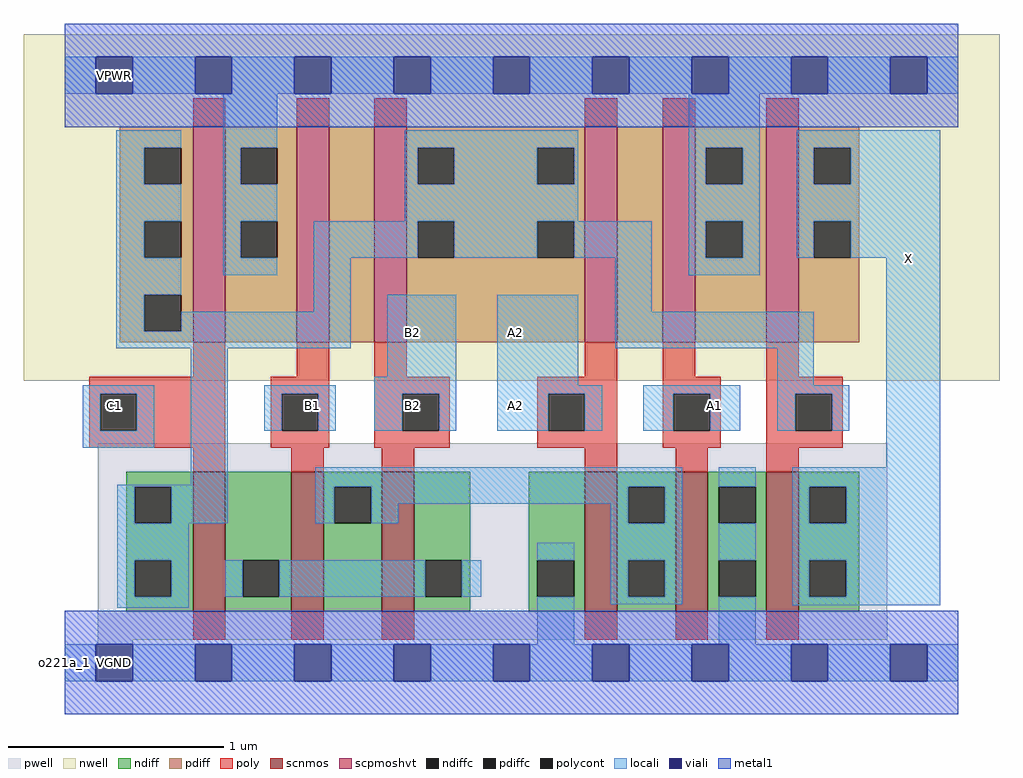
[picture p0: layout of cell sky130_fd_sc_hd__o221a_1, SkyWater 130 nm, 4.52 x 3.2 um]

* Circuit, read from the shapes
.subckt sky130_fd_sc_hd__o221a_1 VGND VPWR VPB VNB B1 B2 A2 A1 X C1
XM1 n1 C1 n2 VNB sky130_fd_pr__nfet_01v8 w=0.65 l=0.15
XM2 n3 B1 n1 VNB sky130_fd_pr__nfet_01v8 w=0.65 l=0.15
XM3 n1 B2 n3 VNB sky130_fd_pr__nfet_01v8 w=0.65 l=0.15
XM4 n3 A2 VGND VNB sky130_fd_pr__nfet_01v8 w=0.65 l=0.15
XM5 VGND A1 n3 VNB sky130_fd_pr__nfet_01v8 w=0.65 l=0.15
XM6 X n2 VGND VNB sky130_fd_pr__nfet_01v8 w=0.65 l=0.15
XM7 VPWR C1 n2 VPB sky130_fd_pr__pfet_01v8_hvt w=1 l=0.15
XM8 n4 B1 VPWR VPB sky130_fd_pr__pfet_01v8_hvt w=1 l=0.15
XM9 n2 B2 n4 VPB sky130_fd_pr__pfet_01v8_hvt w=1 l=0.15
XM10 n5 A2 n2 VPB sky130_fd_pr__pfet_01v8_hvt w=1 l=0.15
XM11 VPWR A1 n5 VPB sky130_fd_pr__pfet_01v8_hvt w=1 l=0.15
XM12 X n2 VPWR VPB sky130_fd_pr__pfet_01v8_hvt w=1 l=0.15
.ends

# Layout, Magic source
magic
tech sky130B
magscale 1 2
<< nwell >>
rect -38 221 866 542
<< pwell >>
rect 31 -19 762 163
rect 31 -23 63 -19
rect 29 -57 63 -23
<< scnmos >>
rect 119 7 149 137
rect 210 7 240 137
rect 294 7 324 137
rect 482 7 512 137
rect 566 7 596 137
rect 650 7 680 137
<< scpmoshvt >>
rect 119 257 149 457
rect 215 257 245 457
rect 287 257 317 457
rect 482 257 512 457
rect 554 257 584 457
rect 650 257 680 457
<< ndiff >>
rect 57 123 119 137
rect 57 89 65 123
rect 99 89 119 123
rect 57 55 119 89
rect 57 21 65 55
rect 99 21 119 55
rect 57 7 119 21
rect 149 55 210 137
rect 149 21 165 55
rect 199 21 210 55
rect 149 7 210 21
rect 240 123 294 137
rect 240 89 250 123
rect 284 89 294 123
rect 240 7 294 89
rect 324 55 376 137
rect 324 21 334 55
rect 368 21 376 55
rect 324 7 376 21
rect 430 55 482 137
rect 430 21 438 55
rect 472 21 482 55
rect 430 7 482 21
rect 512 123 566 137
rect 512 89 522 123
rect 556 89 566 123
rect 512 55 566 89
rect 512 21 522 55
rect 556 21 566 55
rect 512 7 566 21
rect 596 123 650 137
rect 596 89 606 123
rect 640 89 650 123
rect 596 55 650 89
rect 596 21 606 55
rect 640 21 650 55
rect 596 7 650 21
rect 680 123 736 137
rect 680 89 690 123
rect 724 89 736 123
rect 680 55 736 89
rect 680 21 690 55
rect 724 21 736 55
rect 680 7 736 21
<< pdiff >>
rect 51 437 119 457
rect 51 403 74 437
rect 108 403 119 437
rect 51 369 119 403
rect 51 335 74 369
rect 108 335 119 369
rect 51 301 119 335
rect 51 267 74 301
rect 108 267 119 301
rect 51 257 119 267
rect 149 437 215 457
rect 149 403 163 437
rect 197 403 215 437
rect 149 369 215 403
rect 149 335 163 369
rect 197 335 215 369
rect 149 257 215 335
rect 245 257 287 457
rect 317 437 482 457
rect 317 403 327 437
rect 361 403 438 437
rect 472 403 482 437
rect 317 369 482 403
rect 317 335 327 369
rect 361 335 438 369
rect 472 335 482 369
rect 317 257 482 335
rect 512 257 554 457
rect 584 437 650 457
rect 584 403 594 437
rect 628 403 650 437
rect 584 369 650 403
rect 584 335 594 369
rect 628 335 650 369
rect 584 257 650 335
rect 680 437 736 457
rect 680 403 694 437
rect 728 403 736 437
rect 680 369 736 403
rect 680 335 694 369
rect 728 335 736 369
rect 680 257 736 335
<< ndiffc >>
rect 65 89 99 123
rect 65 21 99 55
rect 165 21 199 55
rect 250 89 284 123
rect 334 21 368 55
rect 438 21 472 55
rect 522 89 556 123
rect 522 21 556 55
rect 606 89 640 123
rect 606 21 640 55
rect 690 89 724 123
rect 690 21 724 55
<< pdiffc >>
rect 74 403 108 437
rect 74 335 108 369
rect 74 267 108 301
rect 163 403 197 437
rect 163 335 197 369
rect 327 403 361 437
rect 438 403 472 437
rect 327 335 361 369
rect 438 335 472 369
rect 594 403 628 437
rect 594 335 628 369
rect 694 403 728 437
rect 694 335 728 369
<< poly >>
rect 119 457 149 483
rect 215 457 245 483
rect 287 457 317 483
rect 482 457 512 483
rect 554 457 584 483
rect 650 457 680 483
rect 119 225 149 257
rect 215 225 245 257
rect 23 209 149 225
rect 23 175 33 209
rect 67 175 149 209
rect 23 159 149 175
rect 191 209 245 225
rect 191 175 201 209
rect 235 175 245 209
rect 191 159 245 175
rect 287 225 317 257
rect 482 225 512 257
rect 287 209 357 225
rect 287 175 313 209
rect 347 175 357 209
rect 287 159 357 175
rect 438 209 512 225
rect 438 175 448 209
rect 482 175 512 209
rect 438 159 512 175
rect 554 225 584 257
rect 650 225 680 257
rect 554 209 608 225
rect 554 175 564 209
rect 598 175 608 209
rect 554 159 608 175
rect 650 209 721 225
rect 650 175 677 209
rect 711 175 721 209
rect 650 159 721 175
rect 119 137 149 159
rect 210 137 240 159
rect 294 137 324 159
rect 482 137 512 159
rect 566 137 596 159
rect 650 137 680 159
rect 119 -19 149 7
rect 210 -19 240 7
rect 294 -19 324 7
rect 482 -19 512 7
rect 566 -19 596 7
rect 650 -19 680 7
<< polycont >>
rect 33 175 67 209
rect 201 175 235 209
rect 313 175 347 209
rect 448 175 482 209
rect 564 175 598 209
rect 677 175 711 209
<< locali >>
rect 0 487 29 521
rect 63 487 121 521
rect 155 487 213 521
rect 247 487 305 521
rect 339 487 397 521
rect 431 487 489 521
rect 523 487 581 521
rect 615 487 673 521
rect 707 487 765 521
rect 799 487 828 521
rect 48 437 108 453
rect 48 403 74 437
rect 48 369 108 403
rect 48 335 74 369
rect 48 301 108 335
rect 147 437 197 487
rect 147 403 163 437
rect 147 369 197 403
rect 315 437 476 453
rect 315 403 327 437
rect 361 403 438 437
rect 472 403 476 437
rect 315 369 476 403
rect 578 437 644 487
rect 578 403 594 437
rect 628 403 644 437
rect 578 369 644 403
rect 147 335 163 369
rect 147 319 197 335
rect 231 335 327 369
rect 361 335 438 369
rect 472 335 544 369
rect 48 267 74 301
rect 231 285 265 335
rect 108 267 265 285
rect 48 251 265 267
rect 17 209 83 217
rect 17 175 33 209
rect 67 175 83 209
rect 17 159 83 175
rect 117 125 151 251
rect 299 225 363 301
rect 185 209 251 217
rect 185 175 201 209
rect 235 175 251 209
rect 287 209 363 225
rect 287 175 313 209
rect 347 175 363 209
rect 401 217 476 301
rect 510 285 544 335
rect 578 335 594 369
rect 628 335 644 369
rect 678 437 811 453
rect 678 403 694 437
rect 728 403 811 437
rect 678 369 811 403
rect 678 335 694 369
rect 728 335 811 369
rect 578 319 644 335
rect 510 251 694 285
rect 660 217 694 251
rect 401 209 498 217
rect 401 175 448 209
rect 482 175 498 209
rect 536 209 626 217
rect 536 175 564 209
rect 598 175 626 209
rect 660 209 727 217
rect 660 175 677 209
rect 711 175 727 209
rect 761 141 811 335
rect 49 123 151 125
rect 49 89 65 123
rect 99 89 151 123
rect 232 123 572 141
rect 232 89 250 123
rect 284 107 522 123
rect 284 89 309 107
rect 506 89 522 107
rect 556 89 572 123
rect 49 55 115 89
rect 438 55 472 71
rect 49 21 65 55
rect 99 21 115 55
rect 149 21 165 55
rect 199 21 334 55
rect 368 21 386 55
rect 49 11 115 21
rect 438 -23 472 21
rect 506 55 572 89
rect 506 21 522 55
rect 556 21 572 55
rect 506 14 572 21
rect 606 123 640 141
rect 606 55 640 89
rect 606 -23 640 21
rect 674 123 811 141
rect 674 89 690 123
rect 724 89 811 123
rect 674 55 811 89
rect 674 21 690 55
rect 724 21 811 55
rect 674 13 811 21
rect 0 -57 29 -23
rect 63 -57 121 -23
rect 155 -57 213 -23
rect 247 -57 305 -23
rect 339 -57 397 -23
rect 431 -57 489 -23
rect 523 -57 581 -23
rect 615 -57 673 -23
rect 707 -57 765 -23
rect 799 -57 828 -23
<< viali >>
rect 29 487 63 521
rect 121 487 155 521
rect 213 487 247 521
rect 305 487 339 521
rect 397 487 431 521
rect 489 487 523 521
rect 581 487 615 521
rect 673 487 707 521
rect 765 487 799 521
rect 29 -57 63 -23
rect 121 -57 155 -23
rect 213 -57 247 -23
rect 305 -57 339 -23
rect 397 -57 431 -23
rect 489 -57 523 -23
rect 581 -57 615 -23
rect 673 -57 707 -23
rect 765 -57 799 -23
<< metal1 >>
rect 0 521 828 552
rect 0 487 29 521
rect 63 487 121 521
rect 155 487 213 521
rect 247 487 305 521
rect 339 487 397 521
rect 431 487 489 521
rect 523 487 581 521
rect 615 487 673 521
rect 707 487 765 521
rect 799 487 828 521
rect 0 456 828 487
rect 0 -23 828 8
rect 0 -57 29 -23
rect 63 -57 121 -23
rect 155 -57 213 -23
rect 247 -57 305 -23
rect 339 -57 397 -23
rect 431 -57 489 -23
rect 523 -57 581 -23
rect 615 -57 673 -23
rect 707 -57 765 -23
rect 799 -57 828 -23
rect 0 -88 828 -57
<< labels >>
rlabel comment s 0 -40 0 -40 4 o221a_1
flabel metal1 s 29 -57 63 -23 0 FreeSans 200 0 0 0 VGND
port 2 nsew
flabel metal1 s 29 487 63 521 0 FreeSans 200 0 0 0 VPWR
port 3 nsew
flabel nwell s 29 487 63 521 0 FreeSans 200 0 0 0 VPB
port 5 nsew
flabel pwell s 29 -57 63 -23 0 FreeSans 200 0 0 0 VNB
port 6 nsew
flabel locali s 401 181 435 215 0 FreeSans 400 0 0 0 A2
port 9 nsew
flabel locali s 765 317 799 351 0 FreeSans 400 0 0 0 X
port 11 nsew
flabel locali s 213 181 247 215 0 FreeSans 400 0 0 0 B1
port 7 nsew
flabel locali s 29 181 63 215 0 FreeSans 400 0 0 0 C1
port 12 nsew
flabel locali s 585 181 619 215 0 FreeSans 400 0 0 0 A1
port 10 nsew
flabel locali s 401 249 435 283 0 FreeSans 400 0 0 0 A2
port 9 nsew
flabel locali s 305 181 339 215 0 FreeSans 400 0 0 0 B2
port 8 nsew
flabel locali s 305 249 339 283 0 FreeSans 400 0 0 0 B2
port 8 nsew
<< properties >>
string FIXED_BBOX 0 -40 828 504
string path 0.000 -1.000 20.700 -1.000 
<< end >>
